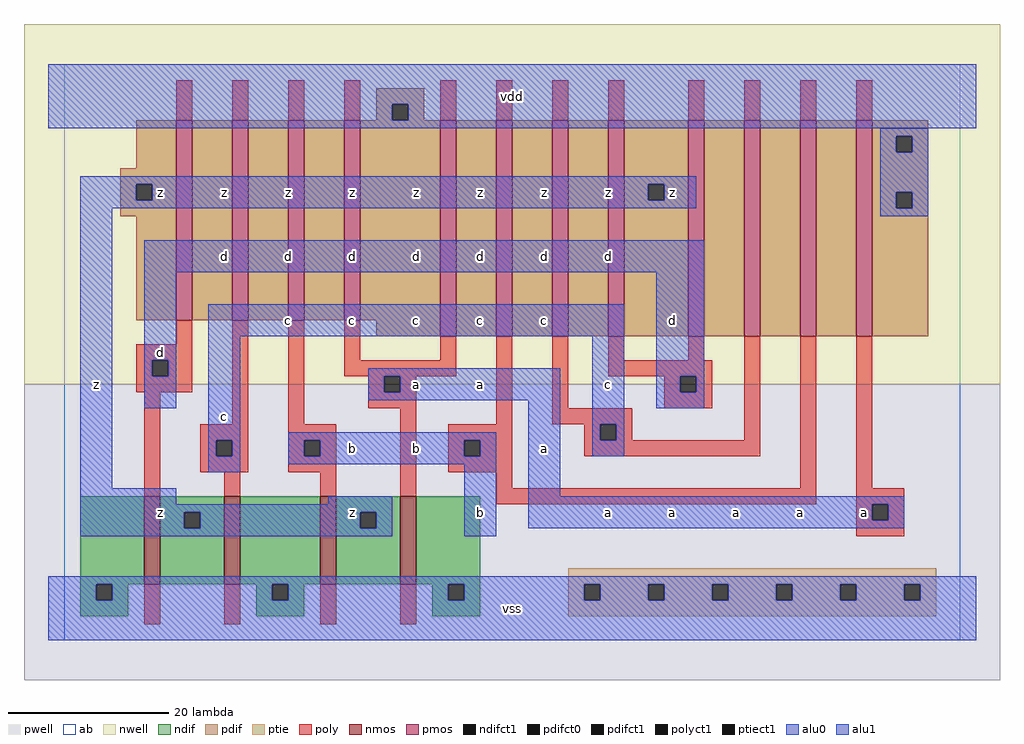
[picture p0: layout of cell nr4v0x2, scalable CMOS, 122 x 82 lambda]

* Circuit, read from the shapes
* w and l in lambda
.subckt nr4v0x2 a b c d vdd vss z
M1 z d vss vss nfet w=11 l=2
M2 vss c z vss nfet w=11 l=2
M3 z b vss vss nfet w=11 l=2
M4 vss a z vss nfet w=11 l=2
M5 n1 d z n2 pfet w=25 l=2
M6 n3 c n1 n2 pfet w=25 l=2
M7 n4 b n3 n2 pfet w=25 l=2
M8 vdd a n4 n2 pfet w=25 l=2
M9 n5 a vdd n2 pfet w=27 l=2
M10 n6 b n5 n2 pfet w=27 l=2
M11 n7 c n6 n2 pfet w=27 l=2
M12 z d n7 n2 pfet w=27 l=2
M13 n8 d z n2 pfet w=27 l=2
M14 n9 c n8 n2 pfet w=27 l=2
M15 n10 b n9 n2 pfet w=27 l=2
M16 vdd a n10 n2 pfet w=27 l=2
.ends

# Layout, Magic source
magic
tech scmos
<< ab >>
rect 0 0 112 72
<< nwell >>
rect -5 32 117 77
<< pwell >>
rect -5 -5 117 32
<< poly >>
rect 14 65 16 70
rect 21 65 23 70
rect 28 65 30 70
rect 35 65 37 70
rect 47 65 49 70
rect 54 65 56 70
rect 61 65 63 70
rect 68 65 70 70
rect 78 65 80 70
rect 85 65 87 70
rect 92 65 94 70
rect 99 65 101 70
rect 14 37 16 40
rect 9 35 16 37
rect 9 33 11 35
rect 13 33 16 35
rect 9 31 16 33
rect 10 18 12 31
rect 21 27 23 40
rect 17 25 23 27
rect 17 23 19 25
rect 21 23 23 25
rect 17 21 23 23
rect 28 27 30 40
rect 35 35 37 40
rect 47 35 49 38
rect 35 33 49 35
rect 38 31 40 33
rect 42 31 44 33
rect 38 29 44 31
rect 28 25 34 27
rect 28 23 30 25
rect 32 23 34 25
rect 28 21 34 23
rect 20 18 22 21
rect 32 18 34 21
rect 42 18 44 29
rect 54 27 56 38
rect 61 29 63 38
rect 68 35 70 38
rect 78 35 80 38
rect 68 33 81 35
rect 75 31 77 33
rect 79 31 81 33
rect 75 29 81 31
rect 61 27 71 29
rect 48 25 56 27
rect 48 23 50 25
rect 52 23 56 25
rect 65 25 67 27
rect 69 25 71 27
rect 85 25 87 38
rect 65 23 87 25
rect 48 21 56 23
rect 54 19 56 21
rect 92 19 94 38
rect 54 17 94 19
rect 99 19 101 38
rect 99 17 105 19
rect 99 15 101 17
rect 103 15 105 17
rect 99 13 105 15
rect 10 2 12 7
rect 20 2 22 7
rect 32 2 34 7
rect 42 2 44 7
<< ndif >>
rect 2 7 10 18
rect 12 16 20 18
rect 12 14 15 16
rect 17 14 20 16
rect 12 7 20 14
rect 22 7 32 18
rect 34 16 42 18
rect 34 14 37 16
rect 39 14 42 16
rect 34 7 42 14
rect 44 7 52 18
rect 2 5 4 7
rect 6 5 8 7
rect 2 3 8 5
rect 24 5 26 7
rect 28 5 30 7
rect 24 3 30 5
rect 46 5 48 7
rect 50 5 52 7
rect 46 3 52 5
<< pdif >>
rect 39 67 45 69
rect 39 65 41 67
rect 43 65 45 67
rect 9 59 14 65
rect 7 57 14 59
rect 7 55 9 57
rect 11 55 14 57
rect 7 53 14 55
rect 9 40 14 53
rect 16 40 21 65
rect 23 40 28 65
rect 30 40 35 65
rect 37 40 47 65
rect 39 38 47 40
rect 49 38 54 65
rect 56 38 61 65
rect 63 38 68 65
rect 70 57 78 65
rect 70 55 73 57
rect 75 55 78 57
rect 70 38 78 55
rect 80 38 85 65
rect 87 38 92 65
rect 94 38 99 65
rect 101 63 108 65
rect 101 61 104 63
rect 106 61 108 63
rect 101 56 108 61
rect 101 54 104 56
rect 106 54 108 56
rect 101 38 108 54
<< alu1 >>
rect -2 67 114 72
rect -2 65 41 67
rect 43 65 114 67
rect -2 64 114 65
rect 2 57 79 58
rect 2 55 9 57
rect 11 55 73 57
rect 75 55 79 57
rect 2 54 79 55
rect 2 19 6 54
rect 10 46 80 50
rect 10 35 14 46
rect 10 33 11 35
rect 13 33 14 35
rect 10 29 14 33
rect 18 38 70 42
rect 18 25 22 38
rect 38 33 62 34
rect 38 31 40 33
rect 42 31 62 33
rect 38 30 62 31
rect 18 23 19 25
rect 21 23 22 25
rect 18 21 22 23
rect 28 25 54 26
rect 28 23 30 25
rect 32 23 50 25
rect 52 23 54 25
rect 28 22 54 23
rect 2 17 14 19
rect 33 17 41 18
rect 2 16 41 17
rect 2 14 15 16
rect 17 14 37 16
rect 39 14 41 16
rect 2 13 41 14
rect 50 13 54 22
rect 58 18 62 30
rect 66 27 70 38
rect 74 33 80 46
rect 74 31 77 33
rect 79 31 80 33
rect 74 29 80 31
rect 66 25 67 27
rect 69 25 70 27
rect 66 23 70 25
rect 58 17 105 18
rect 58 15 101 17
rect 103 15 105 17
rect 58 14 105 15
rect -2 7 114 8
rect -2 5 4 7
rect 6 5 26 7
rect 28 5 48 7
rect 50 5 65 7
rect 67 5 73 7
rect 75 5 81 7
rect 83 5 89 7
rect 91 5 97 7
rect 99 5 105 7
rect 107 5 114 7
rect -2 0 114 5
<< ptie >>
rect 63 7 109 9
rect 63 5 65 7
rect 67 5 73 7
rect 75 5 81 7
rect 83 5 89 7
rect 91 5 97 7
rect 99 5 105 7
rect 107 5 109 7
rect 63 3 109 5
<< nmos >>
rect 10 7 12 18
rect 20 7 22 18
rect 32 7 34 18
rect 42 7 44 18
<< pmos >>
rect 14 40 16 65
rect 21 40 23 65
rect 28 40 30 65
rect 35 40 37 65
rect 47 38 49 65
rect 54 38 56 65
rect 61 38 63 65
rect 68 38 70 65
rect 78 38 80 65
rect 85 38 87 65
rect 92 38 94 65
rect 99 38 101 65
<< polyct1 >>
rect 11 33 13 35
rect 19 23 21 25
rect 40 31 42 33
rect 30 23 32 25
rect 77 31 79 33
rect 50 23 52 25
rect 67 25 69 27
rect 101 15 103 17
<< ndifct1 >>
rect 15 14 17 16
rect 37 14 39 16
rect 4 5 6 7
rect 26 5 28 7
rect 48 5 50 7
<< ptiect1 >>
rect 65 5 67 7
rect 73 5 75 7
rect 81 5 83 7
rect 89 5 91 7
rect 97 5 99 7
rect 105 5 107 7
<< pdifct0 >>
rect 104 61 106 63
rect 104 54 106 56
<< pdifct1 >>
rect 41 65 43 67
rect 9 55 11 57
rect 73 55 75 57
<< alu0 >>
rect 102 63 108 64
rect 102 61 104 63
rect 106 61 108 63
rect 102 56 108 61
rect 102 54 104 56
rect 106 54 108 56
rect 102 53 108 54
<< labels >>
rlabel alu1 12 16 12 16 6 z
rlabel alu1 4 32 4 32 6 z
rlabel alu1 12 36 12 36 6 d
rlabel alu1 12 56 12 56 6 z
rlabel alu1 36 16 36 16 6 z
rlabel alu1 36 24 36 24 6 b
rlabel alu1 20 28 20 28 6 c
rlabel alu1 28 40 28 40 6 c
rlabel alu1 36 40 36 40 6 c
rlabel alu1 20 48 20 48 6 d
rlabel alu1 28 48 28 48 6 d
rlabel alu1 36 48 36 48 6 d
rlabel alu1 28 56 28 56 6 z
rlabel alu1 36 56 36 56 6 z
rlabel alu1 20 56 20 56 6 z
rlabel alu1 56 4 56 4 6 vss
rlabel alu1 52 16 52 16 6 b
rlabel alu1 44 24 44 24 6 b
rlabel alu1 60 24 60 24 6 a
rlabel alu1 52 32 52 32 6 a
rlabel alu1 44 32 44 32 6 a
rlabel alu1 44 40 44 40 6 c
rlabel alu1 52 40 52 40 6 c
rlabel alu1 60 40 60 40 6 c
rlabel alu1 44 48 44 48 6 d
rlabel alu1 52 48 52 48 6 d
rlabel alu1 60 48 60 48 6 d
rlabel alu1 52 56 52 56 6 z
rlabel alu1 60 56 60 56 6 z
rlabel alu1 44 56 44 56 6 z
rlabel alu1 56 68 56 68 6 vdd
rlabel alu1 76 16 76 16 6 a
rlabel alu1 84 16 84 16 6 a
rlabel alu1 68 16 68 16 6 a
rlabel alu1 68 32 68 32 6 c
rlabel alu1 76 40 76 40 6 d
rlabel alu1 68 48 68 48 6 d
rlabel alu1 76 56 76 56 6 z
rlabel alu1 68 56 68 56 6 z
rlabel alu1 100 16 100 16 6 a
rlabel alu1 92 16 92 16 6 a
<< end >>
